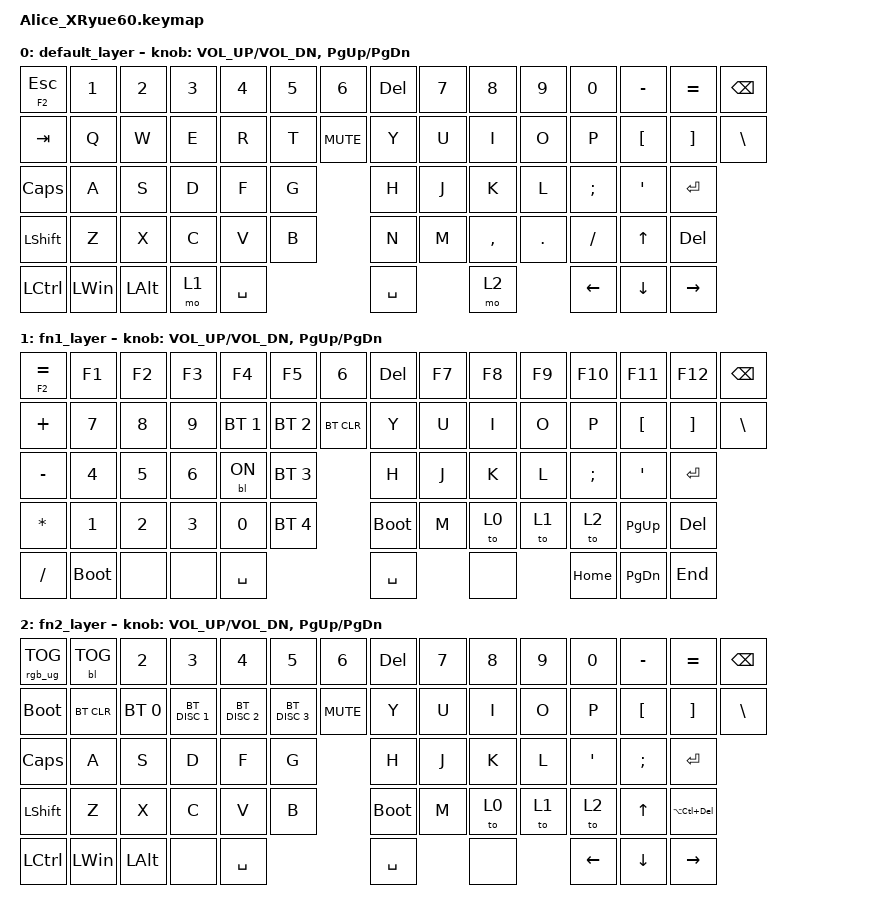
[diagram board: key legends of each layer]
f /*
 * Copyright (c) 2020 The ZMK Contributors
 *
 * SPDX-License-Identifier: MIT
 */

#include <behaviors.dtsi>
#include <dt-bindings/zmk/backlight.h>
#include <dt-bindings/zmk/bt.h>
#include <dt-bindings/zmk/keys.h>
#include <dt-bindings/zmk/rgb.h>

/ {
   

    keymap0: combos {
        compatible = "zmk,combos";

        ctrl+c {
            bindings = <&kp LC(C)>;
            key-positions = <1 2>;
            layers = <0 2 1>;
        };

        ctrl+v {
            bindings = <&kp LC(V)>;
            key-positions = <2 3>;
            layers = <0 1 2>;
        };

        ctrl+x {
            bindings = <&kp LC(X)>;
            key-positions = <3 4>;
            layers = <0 1 2>;
        };
    };

    keymap {
        compatible = "zmk,keymap";

        default_layer {
            bindings = <
&mt F2 ESC  &kp N1    &kp N2    &kp N3  &kp N4     &kp N5  &kp N6      &kp DEL    &kp N7  &kp N8     &kp N9   &kp N0    &kp MINUS  &kp EQUAL  &kp BSPC
&kp TAB     &kp Q     &kp W     &kp E   &kp R      &kp T   &kp C_MUTE  &kp Y      &kp U   &kp I      &kp O    &kp P     &kp LBKT   &kp RBKT   &kp BSLH
&kp CAPS    &kp A     &kp S     &kp D   &kp F      &kp G               &kp H      &kp J   &kp K      &kp L    &kp SEMI  &kp SQT    &kp ENTER
&kp LSHFT   &kp Z     &kp X     &kp C   &kp V      &kp B               &kp N      &kp M   &kp COMMA  &kp DOT  &kp FSLH  &kp UP     &kp DEL
&kp LCTRL   &kp LWIN  &kp LALT  &mo 1   &kp SPACE                      &kp SPACE          &mo 2               &kp LEFT  &kp DOWN   &kp RIGHT
            >;

            sensor-bindings = <&inc_dec_kp C_VOL_UP C_VOL_DN &inc_dec_kp PG_UP PG_DN>;
        };

        fn1_layer {
            bindings = <
&mt F2 EQUAL  &kp F1   &kp F2    &kp F3  &kp F4            &kp F5          &kp N6           &kp DEL      &kp F7     &kp F8    &kp F9   &kp F10        &kp F11        &kp F12    &kp BSPC
&kp PLUS      &kp N7   &kp N8    &kp N9  &bt BT_SEL 1      &bt BT_SEL 2    &bt BT_CLR       &kp Y        &kp U      &kp I     &kp O    &kp P          &kp LBKT       &kp RBKT   &kp BSLH
&kp MINUS     &kp N4   &kp N5    &kp N6  &bl BL_ON         &bt BT_SEL 3                     &kp H        &kp J      &kp K     &kp L    &kp SEMI       &kp SQT        &kp ENTER
&kp ASTERISK  &kp N1   &kp N2    &kp N3  &kp N0            &bt BT_SEL 4                     &bootloader  &kp M      &to 0     &to 1    &to 2          &kp PAGE_UP    &kp DEL
&kp SLASH     &bootloader &none     &none                  &kp SPACE                        &kp SPACE    &none      &kp HOME  &kp PAGE_DOWN           &kp END
            >;

            sensor-bindings = <&inc_dec_kp C_VOL_UP C_VOL_DN &inc_dec_kp PG_UP PG_DN>;
        };

        fn2_layer {
            bindings = <
&rgb_ug RGB_TOG  &bl BL_TOG  &kp N2        &kp N3         &kp N4         &kp N5         &kp N6      &kp DEL    &kp N7  &kp N8  &kp N9  &kp N0    &kp MINUS  &kp EQUAL        &kp BSPC
&bootloader      &bt BT_CLR  &bt BT_SEL 0  &bt BT_DISC 1  &bt BT_DISC 2  &bt BT_DISC 3  &kp C_MUTE  &kp Y      &kp U   &kp I   &kp O   &kp P     &kp LBKT   &kp RBKT         &kp BSLH
&kp CAPS         &kp A       &kp S         &kp D          &kp F          &kp G                      &kp H      &kp J   &kp K   &kp L   &kp SQT   &kp SEMI   &kp ENTER
&kp LSHFT        &kp Z       &kp X         &kp C          &kp V          &kp B                      &bootloader      &kp M   &to 0   &to 1   &to 2     &kp UP     &kp LA(LC(DEL))
&kp LCTRL        &kp LWIN    &kp LALT      &none          &kp SPACE                                 &kp SPACE          &none           &kp LEFT  &kp DOWN   &kp RIGHT
            >;

            sensor-bindings = <&inc_dec_kp C_VOL_UP C_VOL_DN &inc_dec_kp PG_UP PG_DN>;
        };
    };
};
